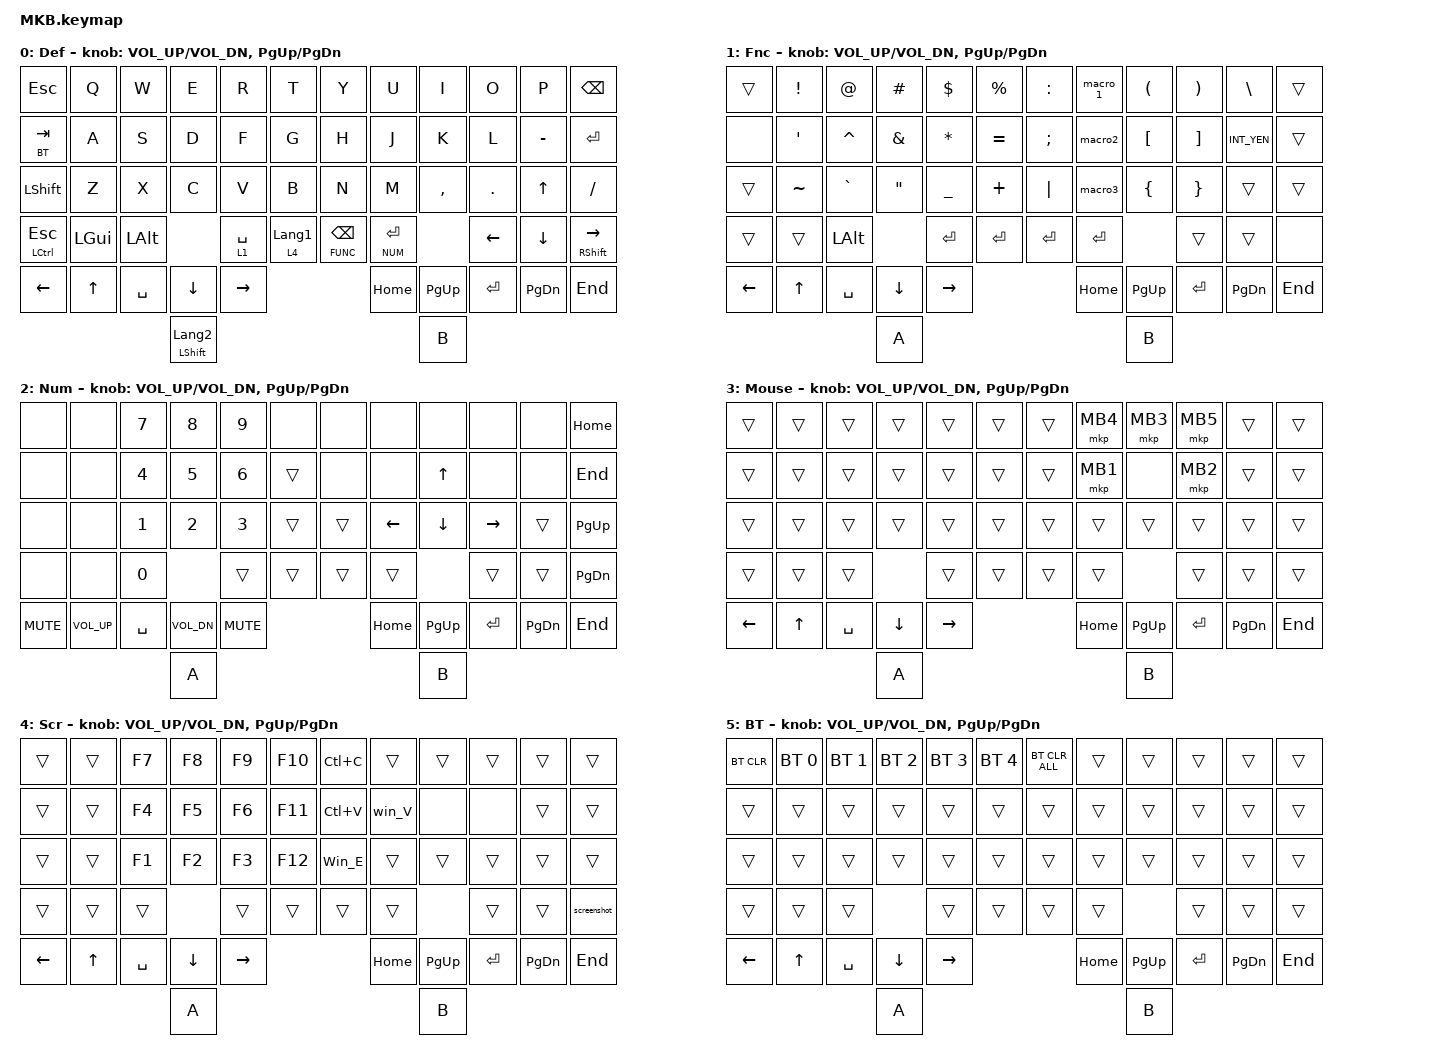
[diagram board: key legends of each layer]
// #include <layout_shift.dtsi>

#include <layout_shift_kp_override.dtsi>
#include <input/processors.dtsi>
#include <behaviors.dtsi>
#include <dt-bindings/zmk/bt.h>
#include <dt-bindings/zmk/keys.h>
#include <dt-bindings/zmk/pointing.h>

#define DEF 0
#define FUNC 1
#define NUM 2
#define MOUSE 3
#define SCROLL 4
#define BT 5

&mt {
    flavor = "balanced";
    tapping-term-ms = <280>;
    quick-tap-ms = <175>;
    require-prior-idle-ms = <150>;
};

/ {
    macros {
        IMEtoggle: IMEtoggle {
            compatible = "zmk,behavior-macro";
            #binding-cells = <0>;
            bindings =
                <&macro_press>,
                <&kp LEFT_ALT>,
                <&macro_tap>,
                <&kp GRAVE>,
                <&macro_release>,
                <&kp LEFT_ALT>;

            label = "IMETOGGLE";
        };

        macro_1: macro_1 {
            compatible = "zmk,behavior-macro";
            #binding-cells = <0>;
            bindings = <&kp LEFT_PARENTHESIS &kp RIGHT_PARENTHESIS &kp LEFT>;
            label = "MACRO_1";
        };

        macro2: macro2 {
            compatible = "zmk,behavior-macro";
            #binding-cells = <0>;
            bindings = <&kp LEFT_BRACKET &kp RIGHT_BRACKET &kp LEFT>;
            label = "MACRO2";
        };

        macro3: macro3 {
            compatible = "zmk,behavior-macro";
            #binding-cells = <0>;
            bindings = <&kp LEFT_BRACE &kp RIGHT_BRACE &kp LEFT>;
            label = "MACRO3";
        };

        screenshot: screenshot {
            compatible = "zmk,behavior-macro";
            #binding-cells = <0>;
            bindings =
                <&macro_press>,
                <&kp LG(LEFT_SHIFT)>,
                <&macro_tap>,
                <&kp S>,
                <&macro_release>,
                <&kp LG(LEFT_SHIFT)>;

            label = "SCREENSHOT";
        };

        Win_E: Win_E {
            compatible = "zmk,behavior-macro";
            #binding-cells = <0>;
            bindings =
                <&macro_press>,
                <&kp LEFT_WIN>,
                <&macro_tap>,
                <&kp E>,
                <&macro_release>,
                <&kp LEFT_WIN>;

            label = "WIN_E";
        };

        win_V: win_V {
            compatible = "zmk,behavior-macro";
            #binding-cells = <0>;
            bindings =
                <&macro_press>,
                <&kp LEFT_WIN>,
                <&macro_tap>,
                <&kp V>,
                <&macro_release>,
                <&kp LEFT_WIN>;

            label = "WIN_V";
        };
    };

    keymap {
        compatible = "zmk,keymap";

        default_layer {
            label = "Def";
            bindings = <
&kp ESCAPE               &kp Q     &kp W      &kp E                      &kp R        &kp T                 &kp Y               &kp U          &kp I      &kp O      &kp P      &kp BACKSPACE
&lt BT TAB               &kp A     &kp S      &kp D                      &kp F        &kp G                 &kp H               &kp J          &kp K      &kp L      &kp MINUS  &kp ENTER
&kp LSHFT                &kp Z     &kp X      &kp C                      &kp V        &kp B                 &kp N               &kp M          &kp COMMA  &kp DOT    &kp UP     &kp FSLH
&mt LEFT_CONTROL ESCAPE  &kp LGUI  &kp LALT                              &lt 1 SPACE  &lt 4 LANGUAGE_1      &lt FUNC BACKSPACE  &lt NUM ENTER             &kp LEFT   &kp DOWN   &mt RIGHT_SHIFT RIGHT
&kp LEFT                 &kp UP    &kp SPACE  &kp DOWN                   &kp RIGHT                                              &kp HOME       &kp PG_UP  &kp ENTER  &kp PG_DN  &kp END
                                              &mt LEFT_SHIFT LANGUAGE_2                                                                        &kp B
            >;

            sensor-bindings = <&inc_dec_kp C_VOL_UP C_VOL_DN &inc_dec_kp PG_UP PG_DN>;
        };

        function_layer {
            label = "Fnc";
            bindings = <
&trans    &kp EXCLAMATION   &kp AT     &kp HASH           &kp DOLLAR      &kp PERCENT      &kp COLON      &macro_1   &kp LEFT_PARENTHESIS  &kp RIGHT_PARENTHESIS  &kp BACKSLASH  &trans
&none     &kp SINGLE_QUOTE  &kp CARET  &kp AMPERSAND      &kp ASTERISK    &kp EQUAL        &kp SEMICOLON  &macro2    &kp LEFT_BRACKET      &kp RIGHT_BRACKET      &kp INT_YEN    &trans
&trans    &kp TILDE         &kp GRAVE  &kp DOUBLE_QUOTES  &kp UNDERSCORE  &kp PLUS         &kp PIPE       &macro3    &kp LEFT_BRACE        &kp RIGHT_BRACE        &trans         &trans
&trans    &trans            &kp LALT                      &kp ENTER       &kp ENTER        &kp ENTER      &kp ENTER                        &trans                 &trans         &none
&kp LEFT  &kp UP            &kp SPACE  &kp DOWN           &kp RIGHT                                       &kp HOME   &kp PG_UP             &kp ENTER              &kp PG_DN      &kp END
                                       &kp A                                                                         &kp B
            >;

            sensor-bindings = <&inc_dec_kp C_VOL_UP C_VOL_DN &inc_dec_kp PG_UP PG_DN>;
        };

        num_layer {
            label = "Num";
            bindings = <
&none       &none         &kp NUMBER_7  &kp NUMBER_8  &kp NUMBER_9  &none       &none   &none     &none         &none      &none      &kp HOME
&none       &none         &kp NUMBER_4  &kp NUMBER_5  &kp NUMBER_6  &trans      &none   &none     &kp UP_ARROW  &none      &none      &kp END
&none       &none         &kp NUMBER_1  &kp NUMBER_2  &kp NUMBER_3  &trans      &trans  &kp LEFT  &kp DOWN      &kp RIGHT  &trans     &kp PAGE_UP
&none       &none         &kp NUMBER_0                &trans        &trans      &trans  &trans                  &trans     &trans     &kp PAGE_DOWN
&kp C_MUTE  &kp C_VOL_UP  &kp SPACE     &kp C_VOL_DN  &kp C_MUTE                        &kp HOME  &kp PG_UP     &kp ENTER  &kp PG_DN  &kp END
                                        &kp A                                                     &kp B
            >;

            sensor-bindings = <&inc_dec_kp C_VOL_UP C_VOL_DN &inc_dec_kp PG_UP PG_DN>;
        };

        mouse_layer {
            label = "Mouse";
            bindings = <
&trans    &trans  &trans     &trans    &trans     &trans      &trans  &mkp MB4  &mkp MB3   &mkp MB5   &trans     &trans
&trans    &trans  &trans     &trans    &trans     &trans      &trans  &mkp MB1  &none      &mkp MB2   &trans     &trans
&trans    &trans  &trans     &trans    &trans     &trans      &trans  &trans    &trans     &trans     &trans     &trans
&trans    &trans  &trans               &trans     &trans      &trans  &trans               &trans     &trans     &trans
&kp LEFT  &kp UP  &kp SPACE  &kp DOWN  &kp RIGHT                      &kp HOME  &kp PG_UP  &kp ENTER  &kp PG_DN  &kp END
                             &kp A                                              &kp B
            >;

            sensor-bindings = <&inc_dec_kp C_VOL_UP C_VOL_DN &inc_dec_kp PG_UP PG_DN>;
        };

        scroll_layer {
            label = "Scr";
            bindings = <
&trans    &trans  &kp F7     &kp F8    &kp F9     &kp F10      &kp LC(C)  &trans    &trans     &trans     &trans     &trans
&trans    &trans  &kp F4     &kp F5    &kp F6     &kp F11      &kp LC(V)  &win_V    &none      &none      &trans     &trans
&trans    &trans  &kp F1     &kp F2    &kp F3     &kp F12      &Win_E     &trans    &trans     &trans     &trans     &trans
&trans    &trans  &trans               &trans     &trans       &trans     &trans               &trans     &trans     &screenshot
&kp LEFT  &kp UP  &kp SPACE  &kp DOWN  &kp RIGHT                          &kp HOME  &kp PG_UP  &kp ENTER  &kp PG_DN  &kp END
                             &kp A                                                  &kp B
            >;

            sensor-bindings = <&inc_dec_kp C_VOL_UP C_VOL_DN &inc_dec_kp PG_UP PG_DN>;
        };

        bt_layer {
            label = "BT";
            bindings = <
&bt BT_CLR  &bt BT_SEL 0  &bt BT_SEL 1  &bt BT_SEL 2  &bt BT_SEL 3  &bt BT_SEL 4      &bt BT_CLR_ALL  &trans    &trans     &trans     &trans     &trans
&trans      &trans        &trans        &trans        &trans        &trans            &trans          &trans    &trans     &trans     &trans     &trans
&trans      &trans        &trans        &trans        &trans        &trans            &trans          &trans    &trans     &trans     &trans     &trans
&trans      &trans        &trans                      &trans        &trans            &trans          &trans               &trans     &trans     &trans
&kp LEFT    &kp UP        &kp SPACE     &kp DOWN      &kp RIGHT                                       &kp HOME  &kp PG_UP  &kp ENTER  &kp PG_DN  &kp END
                                        &kp A                                                                   &kp B
            >;

            sensor-bindings = <&inc_dec_kp C_VOL_UP C_VOL_DN &inc_dec_kp PG_UP PG_DN>;
        };
    };
};

&zip_temp_layer { excluded-positions = <7 8 9 19 21 24 36 37 38>; };

&mkp_input_listener { input-processors = <&zip_temp_layer MOUSE 250>; };
